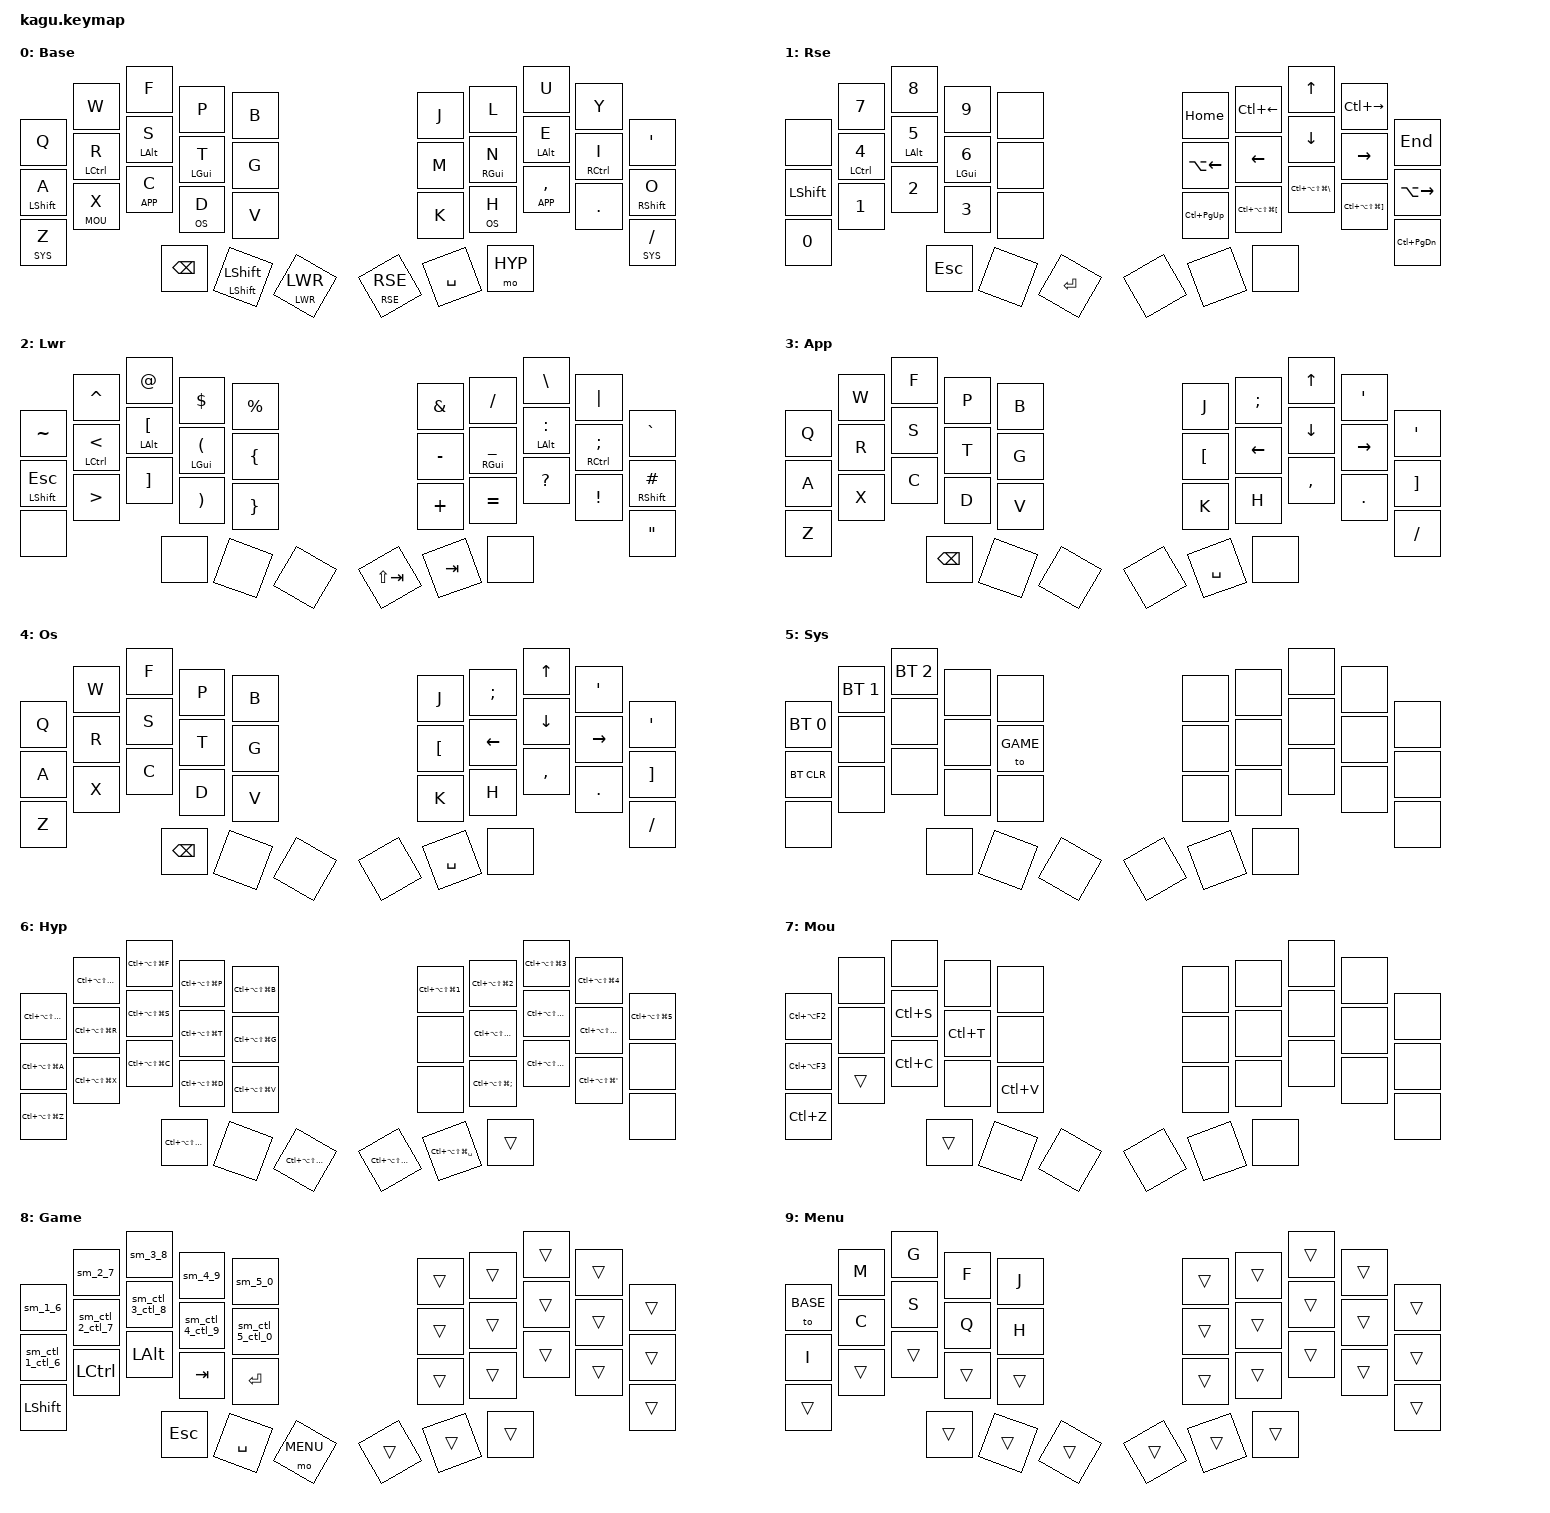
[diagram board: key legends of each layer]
// Generated from keymap.txt by keymap/generate.py. Do not edit.

#include <behaviors.dtsi>
#include <dt-bindings/zmk/keys.h>
#include <dt-bindings/zmk/bt.h>
#include <dt-bindings/zmk/outputs.h>
#include <dt-bindings/zmk/pointing.h>

#define BASE  0
#define RSE   1
#define LWR   2
#define APP   3
#define OS    4
#define SYS   5
#define HYP   6
#define MOU   7
#define GAME  8
#define MENU  9

// Key positions (see the matrix transform in kagu.dtsi):
//   0  1  2  3  4     5  6  7  8  9
//  10 11 12 13 14    15 16 17 18 19
//  20 21 22 23 24    25 26 27 28 29
//        30 31 32    33 34 35
#define KEYS_L 0 1 2 3 4 10 11 12 13 14 20 21 22 23 24
#define KEYS_R 5 6 7 8 9 15 16 17 18 19 25 26 27 28 29
#define THUMBS 30 31 32 33 34 35

// Thumb layer-taps: tapping a thumb then holding it repeats the tap
// (hold Space or Backspace) instead of turning on the layer.
&lt {
	quick-tap-ms = <175>;
};

/ {
	behaviors {
		// Home row mods. A mod only fires when the next key is on the other
		// hand (or a thumb), so same-hand rolls like "st" stay letters.
		hml: homerow_mods_left {
			compatible = "zmk,behavior-hold-tap";
			#binding-cells = <2>;
			flavor = "balanced";
			tapping-term-ms = <280>;
			quick-tap-ms = <175>;
			require-prior-idle-ms = <150>;
			bindings = <&kp>, <&kp>;
			hold-trigger-key-positions = <KEYS_R THUMBS>;
			hold-trigger-on-release;
		};

		hmr: homerow_mods_right {
			compatible = "zmk,behavior-hold-tap";
			#binding-cells = <2>;
			flavor = "balanced";
			tapping-term-ms = <280>;
			quick-tap-ms = <175>;
			require-prior-idle-ms = <150>;
			bindings = <&kp>, <&kp>;
			hold-trigger-key-positions = <KEYS_L THUMBS>;
			hold-trigger-on-release;
		};

		// One-shot keys (`LSHFT/LSHFT`, `sym/sym`): a tap applies the modifier
		// or layer to the next key press, a hold is momentary.
		osm: oneshot_mod_tap {
			compatible = "zmk,behavior-hold-tap";
			#binding-cells = <2>;
			flavor = "tap-preferred";
			tapping-term-ms = <200>;
			bindings = <&kp>, <&sk>;
		};

		osl: oneshot_layer_tap {
			compatible = "zmk,behavior-hold-tap";
			#binding-cells = <2>;
			flavor = "tap-preferred";
			tapping-term-ms = <200>;
			bindings = <&mo>, <&sl>;
		};

		lt_app: layer_tap_app {
			compatible = "zmk,behavior-hold-tap";
			#binding-cells = <2>;
			flavor = "tap-preferred";
			tapping-term-ms = <200>;
			quick-tap-ms = <175>;
			bindings = <&mo_app>, <&kp>;
		};

		mo_app: momentary_app {
			compatible = "zmk,behavior-macro-one-param";
			#binding-cells = <1>;
			wait-ms = <0>;
			tap-ms = <0>;
			bindings
				= <&macro_param_1to1>
				, <&macro_press &mo MACRO_PLACEHOLDER>
				, <&macro_press &kp LCTRL>
				, <&macro_pause_for_release>
				, <&macro_release &kp LCTRL>
				, <&macro_param_1to1>
				, <&macro_release &mo MACRO_PLACEHOLDER>
				;
		};

		lt_os: layer_tap_os {
			compatible = "zmk,behavior-hold-tap";
			#binding-cells = <2>;
			flavor = "tap-preferred";
			tapping-term-ms = <200>;
			quick-tap-ms = <175>;
			bindings = <&mo_os>, <&kp>;
		};

		mo_os: momentary_os {
			compatible = "zmk,behavior-macro-one-param";
			#binding-cells = <1>;
			wait-ms = <0>;
			tap-ms = <0>;
			bindings
				= <&macro_param_1to1>
				, <&macro_press &mo MACRO_PLACEHOLDER>
				, <&macro_press &kp LGUI>
				, <&macro_pause_for_release>
				, <&macro_release &kp LGUI>
				, <&macro_param_1to1>
				, <&macro_release &mo MACRO_PLACEHOLDER>
				;
		};

		sm_1_6: shift_morph_1_6 {
			compatible = "zmk,behavior-mod-morph";
			#binding-cells = <0>;
			bindings = <&kp N1>, <&kp N6>;
			mods = <(MOD_LSFT|MOD_RSFT)>;
		};

		sm_2_7: shift_morph_2_7 {
			compatible = "zmk,behavior-mod-morph";
			#binding-cells = <0>;
			bindings = <&kp N2>, <&kp N7>;
			mods = <(MOD_LSFT|MOD_RSFT)>;
		};

		sm_3_8: shift_morph_3_8 {
			compatible = "zmk,behavior-mod-morph";
			#binding-cells = <0>;
			bindings = <&kp N3>, <&kp N8>;
			mods = <(MOD_LSFT|MOD_RSFT)>;
		};

		sm_4_9: shift_morph_4_9 {
			compatible = "zmk,behavior-mod-morph";
			#binding-cells = <0>;
			bindings = <&kp N4>, <&kp N9>;
			mods = <(MOD_LSFT|MOD_RSFT)>;
		};

		sm_5_0: shift_morph_5_0 {
			compatible = "zmk,behavior-mod-morph";
			#binding-cells = <0>;
			bindings = <&kp N5>, <&kp N0>;
			mods = <(MOD_LSFT|MOD_RSFT)>;
		};

		sm_ctl_1_ctl_6: shift_morph_ctl_1_ctl_6 {
			compatible = "zmk,behavior-mod-morph";
			#binding-cells = <0>;
			bindings = <&kp LC(N1)>, <&kp LC(N6)>;
			mods = <(MOD_LSFT|MOD_RSFT)>;
		};

		sm_ctl_2_ctl_7: shift_morph_ctl_2_ctl_7 {
			compatible = "zmk,behavior-mod-morph";
			#binding-cells = <0>;
			bindings = <&kp LC(N2)>, <&kp LC(N7)>;
			mods = <(MOD_LSFT|MOD_RSFT)>;
		};

		sm_ctl_3_ctl_8: shift_morph_ctl_3_ctl_8 {
			compatible = "zmk,behavior-mod-morph";
			#binding-cells = <0>;
			bindings = <&kp LC(N3)>, <&kp LC(N8)>;
			mods = <(MOD_LSFT|MOD_RSFT)>;
		};

		sm_ctl_4_ctl_9: shift_morph_ctl_4_ctl_9 {
			compatible = "zmk,behavior-mod-morph";
			#binding-cells = <0>;
			bindings = <&kp LC(N4)>, <&kp LC(N9)>;
			mods = <(MOD_LSFT|MOD_RSFT)>;
		};

		sm_ctl_5_ctl_0: shift_morph_ctl_5_ctl_0 {
			compatible = "zmk,behavior-mod-morph";
			#binding-cells = <0>;
			bindings = <&kp LC(N5)>, <&kp LC(N0)>;
			mods = <(MOD_LSFT|MOD_RSFT)>;
		};
	};

	combos {
		compatible = "zmk,combos";

		combo_0 {
			timeout-ms = <50>;
			key-positions = <1 2>;
			bindings = <&kp ESC>;
			layers = <BASE APP OS>;
		};

		combo_1 {
			timeout-ms = <50>;
			key-positions = <7 8>;
			bindings = <&kp RET>;
			layers = <BASE APP OS>;
		};
	};

	keymap {
		compatible = "zmk,keymap";

		base_layer {
			display-name = "Base";
			bindings = <
   &kp Q        &kp W        &kp F         &kp P            &kp B           &kp J        &kp L       &kp U             &kp Y        &kp SQT
   &hml LSHFT A &hml LCTRL R &hml LALT S   &hml LGUI T      &kp G           &kp M        &hmr RGUI N &hmr LALT E       &hmr RCTRL I &hmr RSHFT O
   &lt SYS Z    &lt MOU X    &lt_app APP C &lt_os OS D      &kp V           &kp K        &lt_os OS H &lt_app APP COMMA &kp DOT      &lt SYS FSLH
                             &kp BSPC      &osm LSHFT LSHFT &osl LWR LWR    &osl RSE RSE &kp SPACE   &mo HYP
			>;
		};

		rse_layer {
			display-name = "Rse";
			bindings = <
   &none     &kp N7        &kp N8       &kp N9       &none      &kp HOME      &kp LC(LEFT)             &kp UP                   &kp LC(RIGHT)            &kp END
   &kp LSHFT &hml LCTRL N4 &hml LALT N5 &hml LGUI N6 &none      &kp LA(LEFT)  &kp LEFT                 &kp DOWN                 &kp RIGHT                &kp LA(RIGHT)
   &kp N0    &kp N1        &kp N2       &kp N3       &none      &kp LC(PG_UP) &kp LC(LA(LS(LG(LBKT)))) &kp LC(LA(LS(LG(BSLH)))) &kp LC(LA(LS(LG(RBKT)))) &kp LC(PG_DN)
                           &kp ESC      &none        &kp RET    &none         &none                    &none
			>;
		};

		lwr_layer {
			display-name = "Lwr";
			bindings = <
   &kp TILDE      &kp CARET     &kp AT         &kp DLLR       &kp PRCNT    &kp AMPS    &kp FSLH        &kp BSLH        &kp PIPE        &kp GRAVE
   &hml LSHFT ESC &hml LCTRL LT &hml LALT LBKT &hml LGUI LPAR &kp LBRC     &kp MINUS   &hmr RGUI UNDER &hmr LALT COLON &hmr RCTRL SEMI &hmr RSHFT HASH
   &none          &kp GT        &kp RBKT       &kp RPAR       &kp RBRC     &kp PLUS    &kp EQUAL       &kp QMARK       &kp EXCL        &kp DQT
                                &none          &none          &none        &kp LS(TAB) &kp TAB         &none
			>;
		};

		app_layer {
			display-name = "App";
			bindings = <
   &kp Q &kp W &kp F    &kp P &kp B    &kp J    &kp SEMI  &kp UP    &kp SQT   &kp SQT
   &kp A &kp R &kp S    &kp T &kp G    &kp LBKT &kp LEFT  &kp DOWN  &kp RIGHT &kp RBKT
   &kp Z &kp X &kp C    &kp D &kp V    &kp K    &kp H     &kp COMMA &kp DOT   &kp FSLH
               &kp BSPC &none &none    &none    &kp SPACE &none
			>;
		};

		os_layer {
			display-name = "Os";
			bindings = <
   &kp Q &kp W &kp F    &kp P &kp B    &kp J    &kp SEMI  &kp UP    &kp SQT   &kp SQT
   &kp A &kp R &kp S    &kp T &kp G    &kp LBKT &kp LEFT  &kp DOWN  &kp RIGHT &kp RBKT
   &kp Z &kp X &kp C    &kp D &kp V    &kp K    &kp H     &kp COMMA &kp DOT   &kp FSLH
               &kp BSPC &none &none    &none    &kp SPACE &none
			>;
		};

		sys_layer {
			display-name = "Sys";
			bindings = <
   &bt BT_SEL 0 &bt BT_SEL 1 &bt BT_SEL 2 &none &none       &none &none &none &none &none
   &bt BT_CLR   &none        &none        &none &to GAME    &none &none &none &none &none
   &none        &none        &none        &none &none       &none &none &none &none &none
                             &none        &none &none       &none &none &none
			>;
		};

		hyp_layer {
			display-name = "Hyp";
			bindings = <
   &kp LC(LA(LS(LG(Q)))) &kp LC(LA(LS(LG(W)))) &kp LC(LA(LS(LG(F))))   &kp LC(LA(LS(LG(P)))) &kp LC(LA(LS(LG(B))))      &kp LC(LA(LS(LG(N1))))  &kp LC(LA(LS(LG(N2))))    &kp LC(LA(LS(LG(N3))))   &kp LC(LA(LS(LG(N4))))    &kp LC(LA(LS(LG(N5))))
   &kp LC(LA(LS(LG(A)))) &kp LC(LA(LS(LG(R)))) &kp LC(LA(LS(LG(S))))   &kp LC(LA(LS(LG(T)))) &kp LC(LA(LS(LG(G))))      &none                   &kp LC(LA(LS(LG(LEFT))))  &kp LC(LA(LS(LG(UP))))   &kp LC(LA(LS(LG(RIGHT)))) &none
   &kp LC(LA(LS(LG(Z)))) &kp LC(LA(LS(LG(X)))) &kp LC(LA(LS(LG(C))))   &kp LC(LA(LS(LG(D)))) &kp LC(LA(LS(LG(V))))      &none                   &kp LC(LA(LS(LG(SEMI))))  &kp LC(LA(LS(LG(DOWN)))) &kp LC(LA(LS(LG(SQT))))   &none
                                               &kp LC(LA(LS(LG(ESC)))) &none                 &kp LC(LA(LS(LG(TAB))))    &kp LC(LA(LS(LG(RET)))) &kp LC(LA(LS(LG(SPACE)))) &trans
			>;
		};

		mou_layer {
			display-name = "Mou";
			bindings = <
   &kp LC(LA(F2)) &none  &none     &none     &none        &none &none &none &none &none
   &kp LC(LA(F3)) &none  &kp LC(S) &kp LC(T) &none        &none &none &none &none &none
   &kp LC(Z)      &trans &kp LC(C) &none     &kp LC(V)    &none &none &none &none &none
                         &trans    &none     &none        &none &none &none
			>;
		};

		game_layer {
			display-name = "Game";
			bindings = <
   &sm_1_6         &sm_2_7         &sm_3_8         &sm_4_9         &sm_5_0            &trans &trans &trans &trans &trans
   &sm_ctl_1_ctl_6 &sm_ctl_2_ctl_7 &sm_ctl_3_ctl_8 &sm_ctl_4_ctl_9 &sm_ctl_5_ctl_0    &trans &trans &trans &trans &trans
   &kp LSHFT       &kp LCTRL       &kp LALT        &kp TAB         &kp RET            &trans &trans &trans &trans &trans
                                   &kp ESC         &kp SPACE       &mo MENU           &trans &trans &trans
			>;
		};

		menu_layer {
			display-name = "Menu";
			bindings = <
   &to BASE &kp M  &kp G  &kp F  &kp J     &trans &trans &trans &trans &trans
   &kp I    &kp C  &kp S  &kp Q  &kp H     &trans &trans &trans &trans &trans
   &trans   &trans &trans &trans &trans    &trans &trans &trans &trans &trans
                   &trans &trans &trans    &trans &trans &trans
			>;
		};
	};
};
